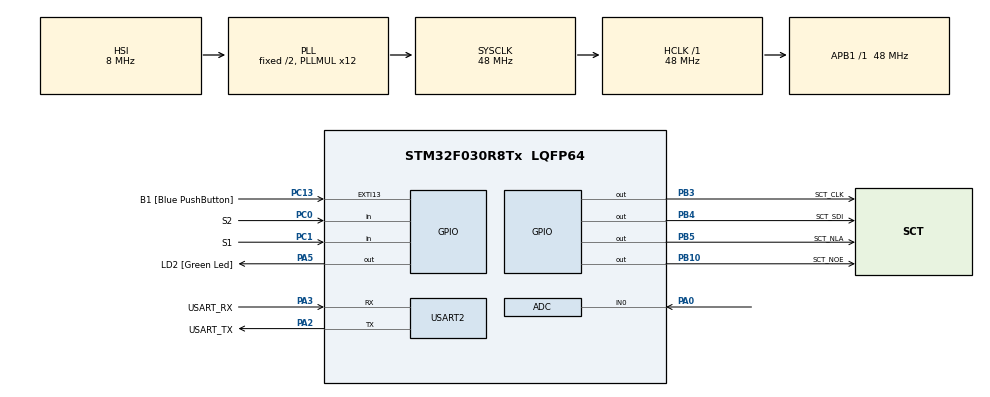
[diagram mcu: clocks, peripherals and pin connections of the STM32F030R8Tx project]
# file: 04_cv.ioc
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ADC.ContinuousConvMode=ENABLE
ADC.EOCSelection=ADC_EOC_SINGLE_CONV
ADC.Overrun=ADC_OVR_DATA_OVERWRITTEN
ADC.SamplingTime=ADC_SAMPLETIME_239CYCLES_5
Mcu.Family=STM32F0
Mcu.Name=STM32F030R8Tx
Mcu.Package=LQFP64
NVIC.ADC1_IRQn=true\:0\:0\:false\:false\:true\:true\:true
PA0.Mode=IN0
PA0.Signal=ADC_IN0
PA13.GPIO_Label=TMS
PA13.Mode=Serial_Wire
PA13.Signal=SYS_SWDIO
PA14.GPIO_Label=TCK
PA14.Mode=Serial_Wire
PA14.Signal=SYS_SWCLK
PA2.GPIO_Label=USART_TX
PA2.GPIO_Mode=GPIO_MODE_AF_PP
PA2.GPIO_PuPd=GPIO_NOPULL
PA2.GPIO_Speed=GPIO_SPEED_FREQ_LOW
PA2.Mode=Asynchronous
PA2.Signal=USART2_TX
PA3.GPIO_Label=USART_RX
PA3.GPIO_Mode=GPIO_MODE_AF_PP
PA3.GPIO_PuPd=GPIO_NOPULL
PA3.GPIO_Speed=GPIO_SPEED_FREQ_LOW
PA3.Mode=Asynchronous
PA3.Signal=USART2_RX
PA5.GPIO_Label=LD2 [Green Led]
PA5.GPIO_Mode=GPIO_MODE_OUTPUT_PP
PA5.GPIO_PuPd=GPIO_NOPULL
PA5.GPIO_Speed=GPIO_SPEED_FREQ_LOW
PA5.Signal=GPIO_Output
PB10.GPIO_Label=SCT_NOE
PB10.Signal=GPIO_Output
PB3.GPIO_Label=SCT_CLK
PB3.Signal=GPIO_Output
PB4.GPIO_Label=SCT_SDI
PB4.Signal=GPIO_Output
PB5.GPIO_Label=SCT_NLA
PB5.Signal=GPIO_Output
PC0.GPIO_Label=S2
PC0.GPIO_PuPd=GPIO_PULLUP
PC0.Signal=GPIO_Input
PC1.GPIO_Label=S1
PC1.GPIO_PuPd=GPIO_PULLUP
PC1.Signal=GPIO_Input
PC13.GPIO_Label=B1 [Blue PushButton]
PC13.GPIO_ModeDefaultEXTI=GPIO_MODE_IT_FALLING
PC13.Signal=GPXTI13
PC14-OSC32_IN.Mode=LSE-External-Oscillator
PC14-OSC32_IN.Signal=RCC_OSC32_IN
PC15-OSC32_OUT.Mode=LSE-External-Oscillator
PC15-OSC32_OUT.Signal=RCC_OSC32_OUT
PF0-OSC_IN.Mode=HSE-External-Clock-Source
PF0-OSC_IN.Signal=RCC_OSC_IN
PF1-OSC_OUT.Signal=RCC_OSC_OUT
ProjectManager.HeapSize=0x200
ProjectManager.StackSize=0x400
ProjectManager.TargetToolchain=STM32CubeIDE
RCC.AHBFreq_Value=48000000
RCC.APB1Freq_Value=48000000
RCC.APB1TimFreq_Value=48000000
RCC.HCLKFreq_Value=48000000
RCC.PLLMUL=RCC_PLL_MUL12
RCC.SYSCLKFreq_VALUE=48000000
RCC.SYSCLKSource=RCC_SYSCLKSOURCE_PLLCLK
USART2.VirtualMode-Asynchronous=VM_ASYNC
VP_ADC_TempSens_Input.Mode=IN-TempSens
VP_ADC_Vref_Input.Mode=IN-Vrefint
board=NUCLEO-F030R8

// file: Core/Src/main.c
/* USER CODE BEGIN Header */
/**
  ******************************************************************************
  * @file           : main.c
  * @brief          : Main program body
  ******************************************************************************
  * @attention
  *
  * <h2><center>&copy; Copyright (c) 2021 STMicroelectronics.
  * All rights reserved.</center></h2>
  *
  * This software component is licensed by ST under BSD 3-Clause license,
  * the "License"; You may not use this file except in compliance with the
  * License. You may obtain a copy of the License at:
  *                        opensource.org/licenses/BSD-3-Clause
  *
  ******************************************************************************
  */
/* USER CODE END Header */
#include "main.h"
#include "sct.h"

/* USER CODE BEGIN PD */
/* Temperature sensor calibration value address */
#define TEMP110_CAL_ADDR ((uint16_t*) ((uint32_t) 0x1FFFF7C2))
#define TEMP30_CAL_ADDR ((uint16_t*) ((uint32_t) 0x1FFFF7B8))
/* Internal voltage reference calibration value address */
#define VREFINT_CAL_ADDR ((uint16_t*) ((uint32_t) 0x1FFFF7BA))
/* USER CODE END PD */

ADC_HandleTypeDef hadc;

UART_HandleTypeDef huart2;

/* USER CODE BEGIN PV */
static volatile uint32_t raw_pot;
static volatile uint32_t raw_temp;
static volatile uint32_t raw_volt;
/* USER CODE END PV */

void SystemClock_Config(void);
static void MX_GPIO_Init(void);
static void MX_USART2_UART_Init(void);
static void MX_ADC_Init(void);

/* USER CODE BEGIN 0 */
void HAL_ADC_ConvCpltCallback(ADC_HandleTypeDef* hadc){
	static uint32_t avg_pot;
	static uint8_t channel;
	// Switch between channels
	switch (channel) {
		case 0:
			// Exponential cumulation
			// Notice lazy number displaying
			raw_pot = avg_pot >> 12;
			avg_pot -= raw_pot;
			avg_pot += HAL_ADC_GetValue(hadc);
			break;
		case 1:
			raw_temp = HAL_ADC_GetValue(hadc);
			break;
		case 2:
			raw_volt = HAL_ADC_GetValue(hadc);
			break;
	}
	if (__HAL_ADC_GET_FLAG(hadc, ADC_FLAG_EOS)) channel = 0;
	else channel++;

}
/* USER CODE END 0 */

int main(void)
{

  /* MCU Configuration--------------------------------------------------------*/

  /* Reset of all peripherals, Initializes the Flash interface and the Systick. */
  HAL_Init();

  /* Configure the system clock */
  SystemClock_Config();

  /* Initialize all configured peripherals */
  MX_GPIO_Init();
  MX_USART2_UART_Init();
  MX_ADC_Init();
  /* USER CODE BEGIN 2 */
  sct_init();
  HAL_ADCEx_Calibration_Start(&hadc);
  HAL_ADC_Start_IT(&hadc);
  /* USER CODE END 2 */

  /* Infinite loop */
  /* USER CODE BEGIN WHILE */
  // State automat
  static enum {SHOW_POT, SHOW_VOLT, SHOW_TEMP} state = SHOW_POT;
  uint32_t timer;

  while (1)
  {
	  /* USER CODE END WHILE */
	  /* USER CODE BEGIN 3 */
	  // Voltage conversion
	  uint32_t voltage = 330 * (*VREFINT_CAL_ADDR) / raw_volt;
	  // Temperature conversion
	  int32_t temperature = (raw_temp - (int32_t)(*TEMP30_CAL_ADDR));
	  temperature = temperature * (int32_t)(110 - 30);
	  temperature = temperature / (int32_t)(*TEMP110_CAL_ADDR - *TEMP30_CAL_ADDR);
	  temperature = temperature + 30;

	  switch (state) {
	  case SHOW_POT:
		  sct_value(raw_pot*500/4096, raw_pot*9/4096);
		  break;
	  case SHOW_VOLT:
		  sct_value(voltage, raw_pot*9/4096);
		  break;
	  case SHOW_TEMP:
		  sct_value(temperature, raw_pot*9/4096);
		  break;
	  }
	  if(HAL_GPIO_ReadPin(S1_GPIO_Port, S1_Pin) == 0){
		  timer = HAL_GetTick();
		  state = SHOW_VOLT;
	  }
	  else if (HAL_GPIO_ReadPin(S2_GPIO_Port, S2_Pin) == 0){
		  timer = HAL_GetTick();
		  state = SHOW_TEMP;
	  }
	  if (HAL_GetTick() >= timer + 1000){
		  // timer = Tick;
		  state = SHOW_POT;
	  }

  }
  /* USER CODE END 3 */
}

void SystemClock_Config(void)
{
  RCC_OscInitTypeDef RCC_OscInitStruct = {0};
  RCC_ClkInitTypeDef RCC_ClkInitStruct = {0};

  /** Initializes the RCC Oscillators according to the specified parameters
  * in the RCC_OscInitTypeDef structure.
  */
  RCC_OscInitStruct.OscillatorType = RCC_OSCILLATORTYPE_HSI|RCC_OSCILLATORTYPE_HSI14;
  RCC_OscInitStruct.HSIState = RCC_HSI_ON;
  RCC_OscInitStruct.HSI14State = RCC_HSI14_ON;
  RCC_OscInitStruct.HSICalibrationValue = RCC_HSICALIBRATION_DEFAULT;
  RCC_OscInitStruct.HSI14CalibrationValue = 16;
  RCC_OscInitStruct.PLL.PLLState = RCC_PLL_ON;
  RCC_OscInitStruct.PLL.PLLSource = RCC_PLLSOURCE_HSI;
  RCC_OscInitStruct.PLL.PLLMUL = RCC_PLL_MUL12;
  RCC_OscInitStruct.PLL.PREDIV = RCC_PREDIV_DIV1;
  if (HAL_RCC_OscConfig(&RCC_OscInitStruct) != HAL_OK)
  {
    Error_Handler();
  }
  /** Initializes the CPU, AHB and APB buses clocks
  */
  RCC_ClkInitStruct.ClockType = RCC_CLOCKTYPE_HCLK|RCC_CLOCKTYPE_SYSCLK
                              |RCC_CLOCKTYPE_PCLK1;
  RCC_ClkInitStruct.SYSCLKSource = RCC_SYSCLKSOURCE_PLLCLK;
  RCC_ClkInitStruct.AHBCLKDivider = RCC_SYSCLK_DIV1;
  RCC_ClkInitStruct.APB1CLKDivider = RCC_HCLK_DIV1;

  if (HAL_RCC_ClockConfig(&RCC_ClkInitStruct, FLASH_LATENCY_1) != HAL_OK)
  {
    Error_Handler();
  }
}

static void MX_ADC_Init(void)
{

  ADC_ChannelConfTypeDef sConfig = {0};

  /** Configure the global features of the ADC (Clock, Resolution, Data Alignment and number of conversion)
  */
  hadc.Instance = ADC1;
  hadc.Init.ClockPrescaler = ADC_CLOCK_ASYNC_DIV1;
  hadc.Init.Resolution = ADC_RESOLUTION_12B;
  hadc.Init.DataAlign = ADC_DATAALIGN_RIGHT;
  hadc.Init.ScanConvMode = ADC_SCAN_DIRECTION_FORWARD;
  hadc.Init.EOCSelection = ADC_EOC_SINGLE_CONV;
  hadc.Init.LowPowerAutoWait = DISABLE;
  hadc.Init.LowPowerAutoPowerOff = DISABLE;
  hadc.Init.ContinuousConvMode = ENABLE;
  hadc.Init.DiscontinuousConvMode = DISABLE;
  hadc.Init.ExternalTrigConv = ADC_SOFTWARE_START;
  hadc.Init.ExternalTrigConvEdge = ADC_EXTERNALTRIGCONVEDGE_NONE;
  hadc.Init.DMAContinuousRequests = DISABLE;
  hadc.Init.Overrun = ADC_OVR_DATA_OVERWRITTEN;
  if (HAL_ADC_Init(&hadc) != HAL_OK)
  {
    Error_Handler();
  }
  /** Configure for the selected ADC regular channel to be converted.
  */
  sConfig.Channel = ADC_CHANNEL_0;
  sConfig.Rank = ADC_RANK_CHANNEL_NUMBER;
  sConfig.SamplingTime = ADC_SAMPLETIME_239CYCLES_5;
  if (HAL_ADC_ConfigChannel(&hadc, &sConfig) != HAL_OK)
  {
    Error_Handler();
  }
  /** Configure for the selected ADC regular channel to be converted.
  */
  sConfig.Channel = ADC_CHANNEL_TEMPSENSOR;
  if (HAL_ADC_ConfigChannel(&hadc, &sConfig) != HAL_OK)
  {
    Error_Handler();
  }
  /** Configure for the selected ADC regular channel to be converted.
  */
  sConfig.Channel = ADC_CHANNEL_VREFINT;
  if (HAL_ADC_ConfigChannel(&hadc, &sConfig) != HAL_OK)
  {
    Error_Handler();
  }

}

static void MX_USART2_UART_Init(void)
{

  huart2.Instance = USART2;
  huart2.Init.BaudRate = 38400;
  huart2.Init.WordLength = UART_WORDLENGTH_8B;
  huart2.Init.StopBits = UART_STOPBITS_1;
  huart2.Init.Parity = UART_PARITY_NONE;
  huart2.Init.Mode = UART_MODE_TX_RX;
  huart2.Init.HwFlowCtl = UART_HWCONTROL_NONE;
  huart2.Init.OverSampling = UART_OVERSAMPLING_16;
  huart2.Init.OneBitSampling = UART_ONE_BIT_SAMPLE_DISABLE;
  huart2.AdvancedInit.AdvFeatureInit = UART_ADVFEATURE_NO_INIT;
  if (HAL_UART_Init(&huart2) != HAL_OK)
  {
    Error_Handler();
  }

}

static void MX_GPIO_Init(void)
{
  GPIO_InitTypeDef GPIO_InitStruct = {0};

  /* GPIO Ports Clock Enable */
  __HAL_RCC_GPIOC_CLK_ENABLE();
  __HAL_RCC_GPIOF_CLK_ENABLE();
  __HAL_RCC_GPIOA_CLK_ENABLE();
  __HAL_RCC_GPIOB_CLK_ENABLE();

  /*Configure GPIO pin Output Level */
  HAL_GPIO_WritePin(LD2_GPIO_Port, LD2_Pin, GPIO_PIN_RESET);

  /*Configure GPIO pin Output Level */
  HAL_GPIO_WritePin(GPIOB, SCT_NOE_Pin|SCT_CLK_Pin|SCT_SDI_Pin|SCT_NLA_Pin, GPIO_PIN_RESET);

  /*Configure GPIO pin : B1_Pin */
  GPIO_InitStruct.Pin = B1_Pin;
  GPIO_InitStruct.Mode = GPIO_MODE_IT_FALLING;
  GPIO_InitStruct.Pull = GPIO_NOPULL;
  HAL_GPIO_Init(B1_GPIO_Port, &GPIO_InitStruct);

  /*Configure GPIO pins : S2_Pin S1_Pin */
  GPIO_InitStruct.Pin = S2_Pin|S1_Pin;
  GPIO_InitStruct.Mode = GPIO_MODE_INPUT;
  GPIO_InitStruct.Pull = GPIO_PULLUP;
  HAL_GPIO_Init(GPIOC, &GPIO_InitStruct);

  /*Configure GPIO pin : LD2_Pin */
  GPIO_InitStruct.Pin = LD2_Pin;
  GPIO_InitStruct.Mode = GPIO_MODE_OUTPUT_PP;
  GPIO_InitStruct.Pull = GPIO_NOPULL;
  GPIO_InitStruct.Speed = GPIO_SPEED_FREQ_LOW;
  HAL_GPIO_Init(LD2_GPIO_Port, &GPIO_InitStruct);

  /*Configure GPIO pins : SCT_NOE_Pin SCT_CLK_Pin SCT_SDI_Pin SCT_NLA_Pin */
  GPIO_InitStruct.Pin = SCT_NOE_Pin|SCT_CLK_Pin|SCT_SDI_Pin|SCT_NLA_Pin;
  GPIO_InitStruct.Mode = GPIO_MODE_OUTPUT_PP;
  GPIO_InitStruct.Pull = GPIO_NOPULL;
  GPIO_InitStruct.Speed = GPIO_SPEED_FREQ_LOW;
  HAL_GPIO_Init(GPIOB, &GPIO_InitStruct);

}

void Error_Handler(void)
{
  __disable_irq();
  while (1)
  {
  }
}

/************************ (C) COPYRIGHT STMicroelectronics *****END OF FILE****/
